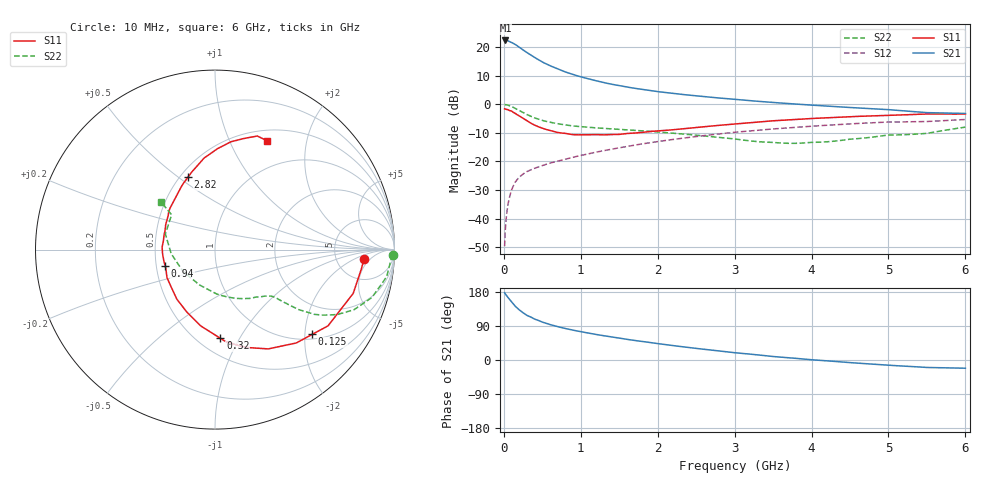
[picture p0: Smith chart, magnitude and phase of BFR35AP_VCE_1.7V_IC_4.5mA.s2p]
! Infineon Technologies  Discrete & RF Semiconductors
! BFR35AP
! VCE =  1.7 V,  IC =  4.5 mA
! Common Emitter S-Parameters:  Nov 2015
# GHz  S  MA  R  50
!  f  S11  S21  S12  S22
! GHz  MAG  ANG  MAG  ANG  MAG  ANG  MAG  ANG
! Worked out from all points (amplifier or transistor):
!   210 points, 10 MHz to 6 GHz, reference 50 ohm
!   highest |S21| = 22.3 dB at 20 MHz (marker M1)
!   |S21| within 3 dB of that: start of sweep to 233.2 MHz
!   unconditionally stable (mu >= 1): 792.3 MHz to 4.314 GHz; 5.155 GHz to end of sweep
!   at 185 MHz: K = 0.37, MSG = 23.1 dB, |S12| = -26.0 dB
!   at 1.52 GHz: K = 1.15, MAG = 8.4 dB, |S12| = -15.1 dB
!   at 6 GHz: K = 1.00, MAG = 0.7 dB, |S12| = -5.3 dB
!   S11 on the Smith chart (normalised r, x): 10 MHz: 10, -3; 125 MHz: 1.12, -2.18; 320 MHz: 0.64, -0.83; 940 MHz: 0.56, -0.11; 2.82 GHz: 0.55, +0.54; 6 GHz: 0.63, +1.39
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0.01  0.8314 -3.5  12.98 177.4  0.0033 91.3  0.9899 -1.7
0.02  0.8234 -7.2  13.03 174.1  0.0066 85.7  0.9812 -3.6
0.05  0.8078 -17.6  12.92 166.0  0.0165 79.9  0.9683 -9.0
0.1  0.7597 -34.0  12.07 153.5  0.0316 72.1  0.9148 -16.9
0.125  0.7184 -41.1  11.51 147.7  0.0377 68.2  0.8786 -20.0
0.15  0.6894 -49.0  11.08 141.3  0.0439 65.4  0.8451 -23.3
0.2  0.6278 -61.8  9.969 132.3  0.0529 61.0  0.7742 -27.8
0.26  0.557 -75.0  8.698 123.2  0.0615 57.2  0.7024 -31.3
0.3  0.5155 -83.5  8.007 117.8  0.0665 55.3  0.6607 -33.1
0.32  0.4954 -86.5  7.704 116.1  0.0684 54.8  0.6437 -33.5
0.4  0.4315 -100.9  6.572 108.0  0.076 53.1  0.5761 -35.6
0.52  0.3732 -116.8  5.302 98.8  0.0863 52.3  0.5123 -36.8
0.7  0.3208 -139.7  4.145 87.9  0.1011 52.5  0.4561 -37.9
0.94  0.2921 -162.2  3.184 77.1  0.1221 53.5  0.4121 -39.3
1.02  0.2917 -168.9  2.965 73.9  0.1289 53.7  0.4033 -40.0
1.4  0.2954 164.3  2.237 60.8  0.1636 53.3  0.3714 -44.9
2.02  0.343 136.0  1.65 42.8  0.2241 50.2  0.3261 -56.6
2.82  0.4296 110.5  1.278 23.4  0.3051 42.8  0.2614 -80.5
3.1  0.4628 104.4  1.186 17.4  0.3322 39.3  0.2372 -92.5
4.1  0.5711 87.0  0.946 -0.7  0.4214 26.8  0.2167 -152.0
5.1  0.6455 74.3  0.785 -15.0  0.4898 12.9  0.2905 158.1
6  0.6721 64.5  0.69 -21.7  0.5408 2.9  0.3979 138.6
